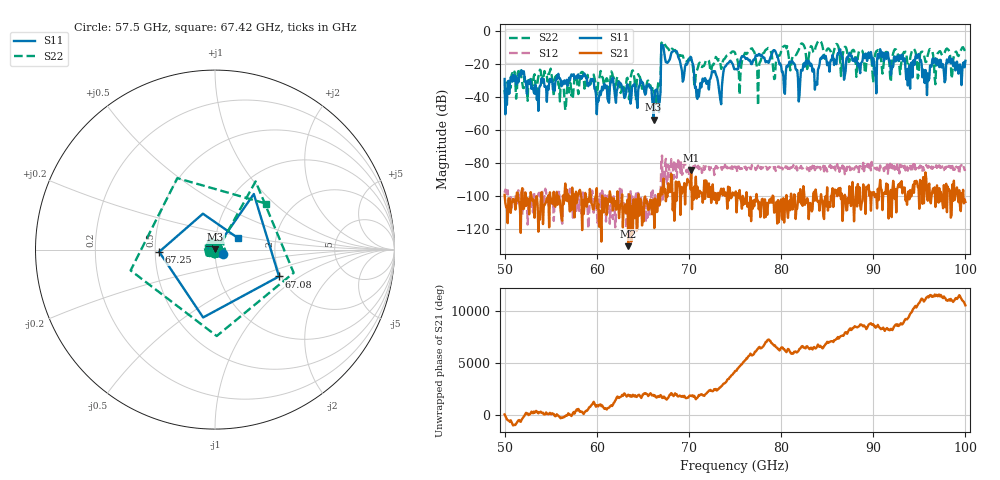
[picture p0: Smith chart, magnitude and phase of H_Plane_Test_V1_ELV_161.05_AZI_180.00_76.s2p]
! 11/27/2026 8:52:55 AM
! C:\ANRITSUVNA\TEMP\TEMP.S2P
! CHANNEL.1
! TR.MEASUREMENT
! RAW.DATA
# HZ S RI R 50.0
! FREQ.HZ  S11RE  S11IM  S21RE  S21IM  S12RE  S12IM  S22RE  S22IM
!; PortSelection: Port_12
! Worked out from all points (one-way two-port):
!   601 points, 50 GHz to 100 GHz, reference 50 ohm
!   highest |S21| = -84.23 dB at 70.25 GHz (marker M1); lowest = -130.5 dB at 63.42 GHz (marker M2)
!   lowest |S11| = -53.7 dB at 66.17 GHz (marker M3), VSWR 1.00, Z = 50.1 + j0.152 ohm
!   |S11| at or under -10 dB: start of sweep to 67 GHz; 67.24 GHz to end of sweep
!   |S22| runs from -47.9 to -5.6 dB; largest |S21 - S12| = 0.00018
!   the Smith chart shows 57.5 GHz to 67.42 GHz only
!   S11 on the Smith chart (normalised r, x): 57.5 GHz: 1.09, -0.05; 67.08 GHz: 1.95, -0.69; 67.25 GHz: 0.53, -0.01; 67.42 GHz: 1.29, +0.17
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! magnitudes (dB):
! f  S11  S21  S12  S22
! 50 GHz  -29.0  -99.3  -98.0  -35.7
! 51.67 GHz  -26.2  -107.6  -100.1  -23.2
! 57.5 GHz  -26.1  -98.9  -100.0  -34.5
! 58.42 GHz  -27.2  -120.7  -100.0  -24.7
! 60.17 GHz  -42.6  -104.8  -102.3  -30.3
! 63.42 GHz  -33.8  -130.5  -98.3  -32.3
! 66.17 GHz  -53.7  -102.2  -108.1  -34.0
! 66.67 GHz  -41.8  -98.8  -103.6  -31.6
! 67.08 GHz  -8.3  -99.0  -75.5  -6.8
! 67.25 GHz  -10.1  -89.4  -84.7  -6.3
! 67.42 GHz  -16.8  -95.8  -80.5  -8.3
! 70.25 GHz  -15.9  -84.2  -85.5  -18.7
! 70.92 GHz  -41.1  -94.4  -82.8  -23.1
! 75 GHz  -23.1  -99.3  -82.7  -13.0
! 79.25 GHz  -11.4  -110.2  -83.4  -29.0
! 80.25 GHz  -27.8  -101.3  -81.8  -9.3
! 83.42 GHz  -24.5  -108.2  -81.7  -10.9
! 91.67 GHz  -16.5  -113.6  -81.4  -15.3
! 93.75 GHz  -32.9  -98.7  -84.6  -21.5
! 94.83 GHz  -15.0  -94.5  -82.5  -28.7
! 95.83 GHz  -38.8  -100.3  -82.0  -16.6
! 100 GHz  -17.9  -103.6  -83.9  -12.6
